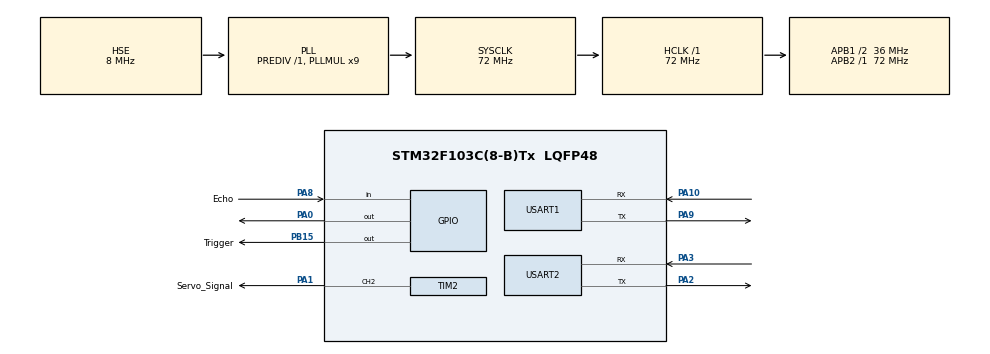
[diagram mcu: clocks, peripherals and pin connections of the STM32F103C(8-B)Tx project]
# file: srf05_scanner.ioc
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Mcu.Family=STM32F1
Mcu.Name=STM32F103C(8-B)Tx
Mcu.Package=LQFP48
NVIC.PriorityGroup=NVIC_PRIORITYGROUP_4
NVIC.TIM2_IRQn=true\:0\:0\:false\:false\:true\:true\:true\:true
PA0-WKUP.Signal=GPIO_Output
PA1.GPIO_Label=Servo_Signal
PA1.Signal=S_TIM2_CH2
PA10.Mode=Asynchronous
PA10.Signal=USART1_RX
PA13.Mode=Serial_Wire
PA13.Signal=SYS_JTMS-SWDIO
PA14.Mode=Serial_Wire
PA14.Signal=SYS_JTCK-SWCLK
PA2.Mode=Asynchronous
PA2.Signal=USART2_TX
PA3.Mode=Asynchronous
PA3.Signal=USART2_RX
PA8.GPIO_Label=Echo
PA8.GPIO_PuPd=GPIO_PULLDOWN
PA8.Signal=GPIO_Input
PA9.Mode=Asynchronous
PA9.Signal=USART1_TX
PB15.GPIO_Label=Trigger
PB15.Signal=GPIO_Output
PD0-OSC_IN.Mode=HSE-External-Oscillator
PD0-OSC_IN.Signal=RCC_OSC_IN
PD1-OSC_OUT.Mode=HSE-External-Oscillator
PD1-OSC_OUT.Signal=RCC_OSC_OUT
ProjectManager.HeapSize=0x200
ProjectManager.StackSize=0x400
ProjectManager.TargetToolchain=CMake
RCC.AHBFreq_Value=72000000
RCC.APB1CLKDivider=RCC_HCLK_DIV2
RCC.APB1Freq_Value=36000000
RCC.APB1TimFreq_Value=72000000
RCC.APB2Freq_Value=72000000
RCC.APB2TimFreq_Value=72000000
RCC.HCLKFreq_Value=72000000
RCC.PLLMUL=RCC_PLL_MUL9
RCC.PLLSourceVirtual=RCC_PLLSOURCE_HSE
RCC.SYSCLKFreq_VALUE=72000000
RCC.SYSCLKSource=RCC_SYSCLKSOURCE_PLLCLK
RCC.USBFreq_Value=72000000
SH.S_TIM2_CH2.0=TIM2_CH2,PWM Generation2 CH2
TIM2.AutoReloadPreload=TIM_AUTORELOAD_PRELOAD_DISABLE
TIM2.Channel-PWM\ Generation2\ CH2=TIM_CHANNEL_2
TIM2.Period=19999
TIM2.Prescaler=71
TIM2.Pulse-PWM\ Generation2\ CH2=1500
USART1.VirtualMode=VM_ASYNC
USART2.VirtualMode=VM_ASYNC
VP_TIM2_VS_ClockSourceINT.Mode=Internal
board=custom

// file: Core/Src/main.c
/* USER CODE BEGIN Header */
/**
 ******************************************************************************
 * @file           : main.c
 * @brief          : Main program body
 ******************************************************************************
 * @attention
 *
 * Copyright (c) 2026 STMicroelectronics.
 * All rights reserved.
 *
 * This software is licensed under terms that can be found in the LICENSE file
 * in the root directory of this software component.
 * If no LICENSE file comes with this software, it is provided AS-IS.
 *
 ******************************************************************************
 */
/* USER CODE END Header */
#include "main.h"

/* USER CODE BEGIN Includes */
#include "project_config.h"
#include "servo.h"
#include "delay.h"
#include "srf05.h"
#include "scanner.h"
#include <stdio.h>

/* USER CODE END Includes */

TIM_HandleTypeDef htim2;

UART_HandleTypeDef huart1;
UART_HandleTypeDef huart2;

void SystemClock_Config(void);
static void MX_GPIO_Init(void);
static void MX_USART2_UART_Init(void);
static void MX_USART1_UART_Init(void);
static void MX_TIM2_Init(void);

/* USER CODE BEGIN 0 */
int __io_putchar(int ch)
{
  HAL_UART_Transmit(&huart1, (uint8_t *)&ch, 1, HAL_MAX_DELAY);
  return ch;
}
/* USER CODE END 0 */

int main(void)
{

  /* MCU Configuration--------------------------------------------------------*/

  /* Reset of all peripherals, Initializes the Flash interface and the Systick. */
  HAL_Init();

  /* Configure the system clock */
  SystemClock_Config();

  /* Initialize all configured peripherals */
  MX_GPIO_Init();
  MX_USART2_UART_Init();
  MX_USART1_UART_Init();
  MX_TIM2_Init();
  CoreDebug->DEMCR |= CoreDebug_DEMCR_TRCENA_Msk;
  DWT->CTRL |= DWT_CTRL_CYCCNTENA_Msk;
  DWT->CYCCNT = 0;
  /* USER CODE BEGIN 2 */
  HAL_TIM_PWM_Start(&htim2, TIM_CHANNEL_2);
  setServoAngle(&htim2, SCAN_HOME_ANGLE);
  /* USER CODE END 2 */

  /* Infinite loop */
  while (1)
  {

    /* USER CODE BEGIN 3 */
    float x, y;

    if (scanForObject(&htim2, &x, &y) == ERROR_NO_OBJECTIVE)
    {
      printf("ERROR_NO_OBJECTIVE\r\n"); // Không thấy vật, quét lại từ đầu
      continue;
    }

    printf("OBJ x=%.1f y=%.1f\r\n", x, y);
    while (1) // Vật đứng yên: báo xong thì dừng
    {
    }
  }
  /* USER CODE END 3 */
}

void SystemClock_Config(void)
{
  RCC_OscInitTypeDef RCC_OscInitStruct = {0};
  RCC_ClkInitTypeDef RCC_ClkInitStruct = {0};

  /** Initializes the RCC Oscillators according to the specified parameters
   * in the RCC_OscInitTypeDef structure.
   */
  RCC_OscInitStruct.OscillatorType = RCC_OSCILLATORTYPE_HSE;
  RCC_OscInitStruct.HSEState = RCC_HSE_ON;
  RCC_OscInitStruct.HSEPredivValue = RCC_HSE_PREDIV_DIV1;
  RCC_OscInitStruct.HSIState = RCC_HSI_ON;
  RCC_OscInitStruct.PLL.PLLState = RCC_PLL_ON;
  RCC_OscInitStruct.PLL.PLLSource = RCC_PLLSOURCE_HSE;
  RCC_OscInitStruct.PLL.PLLMUL = RCC_PLL_MUL9;
  if (HAL_RCC_OscConfig(&RCC_OscInitStruct) != HAL_OK)
  {
    Error_Handler();
  }

  /** Initializes the CPU, AHB and APB buses clocks
   */
  RCC_ClkInitStruct.ClockType = RCC_CLOCKTYPE_HCLK | RCC_CLOCKTYPE_SYSCLK | RCC_CLOCKTYPE_PCLK1 | RCC_CLOCKTYPE_PCLK2;
  RCC_ClkInitStruct.SYSCLKSource = RCC_SYSCLKSOURCE_PLLCLK;
  RCC_ClkInitStruct.AHBCLKDivider = RCC_SYSCLK_DIV1;
  RCC_ClkInitStruct.APB1CLKDivider = RCC_HCLK_DIV2;
  RCC_ClkInitStruct.APB2CLKDivider = RCC_HCLK_DIV1;

  if (HAL_RCC_ClockConfig(&RCC_ClkInitStruct, FLASH_LATENCY_2) != HAL_OK)
  {
    Error_Handler();
  }
}

static void MX_TIM2_Init(void)
{

  TIM_ClockConfigTypeDef sClockSourceConfig = {0};
  TIM_MasterConfigTypeDef sMasterConfig = {0};
  TIM_OC_InitTypeDef sConfigOC = {0};

  htim2.Instance = TIM2;
  htim2.Init.Prescaler = 71;
  htim2.Init.CounterMode = TIM_COUNTERMODE_UP;
  htim2.Init.Period = 19999;
  htim2.Init.ClockDivision = TIM_CLOCKDIVISION_DIV1;
  htim2.Init.AutoReloadPreload = TIM_AUTORELOAD_PRELOAD_DISABLE;
  if (HAL_TIM_Base_Init(&htim2) != HAL_OK)
  {
    Error_Handler();
  }
  sClockSourceConfig.ClockSource = TIM_CLOCKSOURCE_INTERNAL;
  if (HAL_TIM_ConfigClockSource(&htim2, &sClockSourceConfig) != HAL_OK)
  {
    Error_Handler();
  }
  if (HAL_TIM_PWM_Init(&htim2) != HAL_OK)
  {
    Error_Handler();
  }
  sMasterConfig.MasterOutputTrigger = TIM_TRGO_RESET;
  sMasterConfig.MasterSlaveMode = TIM_MASTERSLAVEMODE_DISABLE;
  if (HAL_TIMEx_MasterConfigSynchronization(&htim2, &sMasterConfig) != HAL_OK)
  {
    Error_Handler();
  }
  sConfigOC.OCMode = TIM_OCMODE_PWM1;
  sConfigOC.Pulse = 1500;
  sConfigOC.OCPolarity = TIM_OCPOLARITY_HIGH;
  sConfigOC.OCFastMode = TIM_OCFAST_DISABLE;
  if (HAL_TIM_PWM_ConfigChannel(&htim2, &sConfigOC, TIM_CHANNEL_2) != HAL_OK)
  {
    Error_Handler();
  }
  HAL_TIM_MspPostInit(&htim2);
}

static void MX_USART1_UART_Init(void)
{

  huart1.Instance = USART1;
  huart1.Init.BaudRate = 115200;
  huart1.Init.WordLength = UART_WORDLENGTH_8B;
  huart1.Init.StopBits = UART_STOPBITS_1;
  huart1.Init.Parity = UART_PARITY_NONE;
  huart1.Init.Mode = UART_MODE_TX_RX;
  huart1.Init.HwFlowCtl = UART_HWCONTROL_NONE;
  huart1.Init.OverSampling = UART_OVERSAMPLING_16;
  if (HAL_UART_Init(&huart1) != HAL_OK)
  {
    Error_Handler();
  }
}

static void MX_USART2_UART_Init(void)
{

  huart2.Instance = USART2;
  huart2.Init.BaudRate = 115200;
  huart2.Init.WordLength = UART_WORDLENGTH_8B;
  huart2.Init.StopBits = UART_STOPBITS_1;
  huart2.Init.Parity = UART_PARITY_NONE;
  huart2.Init.Mode = UART_MODE_TX_RX;
  huart2.Init.HwFlowCtl = UART_HWCONTROL_NONE;
  huart2.Init.OverSampling = UART_OVERSAMPLING_16;
  if (HAL_UART_Init(&huart2) != HAL_OK)
  {
    Error_Handler();
  }
}

static void MX_GPIO_Init(void)
{
  GPIO_InitTypeDef GPIO_InitStruct = {0};

  /* GPIO Ports Clock Enable */
  __HAL_RCC_GPIOD_CLK_ENABLE();
  __HAL_RCC_GPIOA_CLK_ENABLE();
  __HAL_RCC_GPIOB_CLK_ENABLE();

  /*Configure GPIO pin Output Level */
  HAL_GPIO_WritePin(GPIOA, GPIO_PIN_0, GPIO_PIN_RESET);

  /*Configure GPIO pin Output Level */
  HAL_GPIO_WritePin(Trigger_GPIO_Port, Trigger_Pin, GPIO_PIN_RESET);

  /*Configure GPIO pin : PA0 */
  GPIO_InitStruct.Pin = GPIO_PIN_0;
  GPIO_InitStruct.Mode = GPIO_MODE_OUTPUT_PP;
  GPIO_InitStruct.Pull = GPIO_NOPULL;
  GPIO_InitStruct.Speed = GPIO_SPEED_FREQ_LOW;
  HAL_GPIO_Init(GPIOA, &GPIO_InitStruct);

  /*Configure GPIO pin : Trigger_Pin */
  GPIO_InitStruct.Pin = Trigger_Pin;
  GPIO_InitStruct.Mode = GPIO_MODE_OUTPUT_PP;
  GPIO_InitStruct.Pull = GPIO_NOPULL;
  GPIO_InitStruct.Speed = GPIO_SPEED_FREQ_LOW;
  HAL_GPIO_Init(Trigger_GPIO_Port, &GPIO_InitStruct);

  /*Configure GPIO pin : Echo_Pin */
  GPIO_InitStruct.Pin = Echo_Pin;
  GPIO_InitStruct.Mode = GPIO_MODE_INPUT;
  GPIO_InitStruct.Pull = GPIO_PULLDOWN;
  HAL_GPIO_Init(Echo_GPIO_Port, &GPIO_InitStruct);

}

void Error_Handler(void)
{
  __disable_irq();
  while (1)
  {
  }
}
#ifdef USE_FULL_ASSERT
/**
 * @brief  Reports the name of the source file and the source line number
 *         where the assert_param error has occurred.
 * @param  file: pointer to the source file name
 * @param  line: assert_param error line source number
 * @retval None
 */
void assert_failed(uint8_t *file, uint32_t line)
{
  /* USER CODE BEGIN 6 */
  /* User can add his own implementation to report the file name and line
     number, ex: printf("Wrong parameters value: file %s on line %d\r\n", file,
     line) */
  /* USER CODE END 6 */
}
#endif /* USE_FULL_ASSERT */
